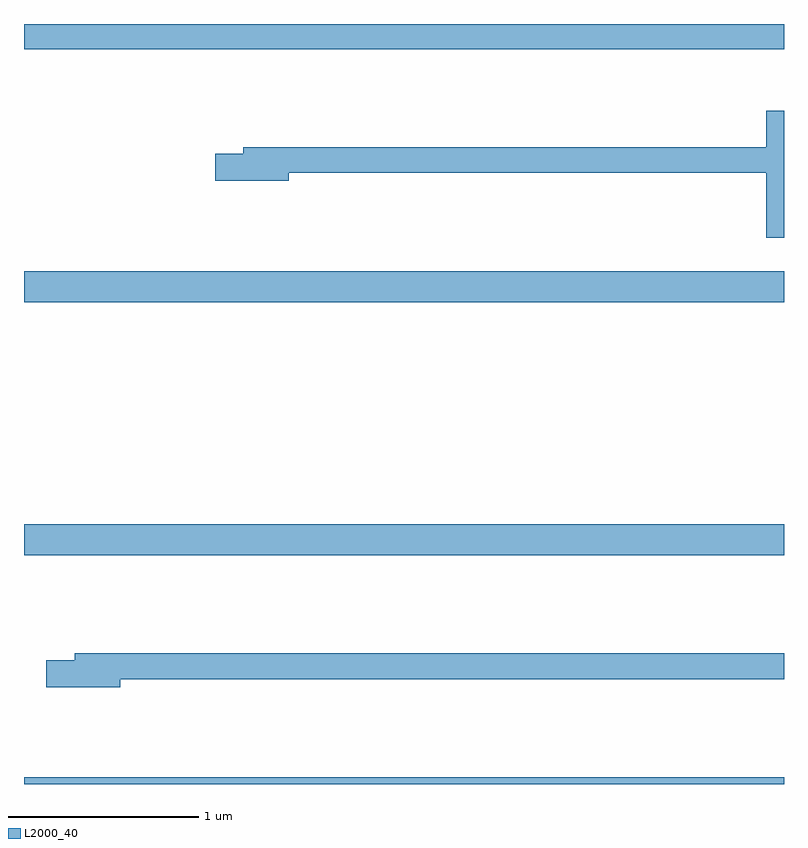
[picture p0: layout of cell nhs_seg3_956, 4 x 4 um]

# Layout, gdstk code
import gdstk
lib = gdstk.Library(unit=1e-6, precision=1e-09)
def R(c, l, rs):  # rectangles x0, y0, x1, y1
    for r in rs: c.add(gdstk.rectangle(r[:2], r[2:], *l))
def P(c, l, *ps):  # polygons
    for p in ps: c.add(gdstk.Polygon(p, *l))
L2000_40 = (2000, 40)

nhs_seg3_956 = lib.new_cell('nhs_seg3_956')
R(nhs_seg3_956, L2000_40, [(161,678.4,165,678.436), (161,679.604,165,679.768), (161,680.936,165,681.1), (161,682.268,165,682.4)])
P(nhs_seg3_956, L2000_40, [(165,681.943),(164.906,681.943),(164.906,681.752),(162.155,681.752),(162.155,681.716),(162.006,681.716),(162.006,681.574),(162.394,681.574),(162.394,681.616),(164.906,681.616),(164.906,681.276),(165,681.276)],
  [(161.506,678.952),(165,678.952),(165,679.088),(161.267,679.088),(161.267,679.052),(161.118,679.052),(161.118,678.91),(161.506,678.91)])

lib.write_gds('nhs_seg3_956.gds')
